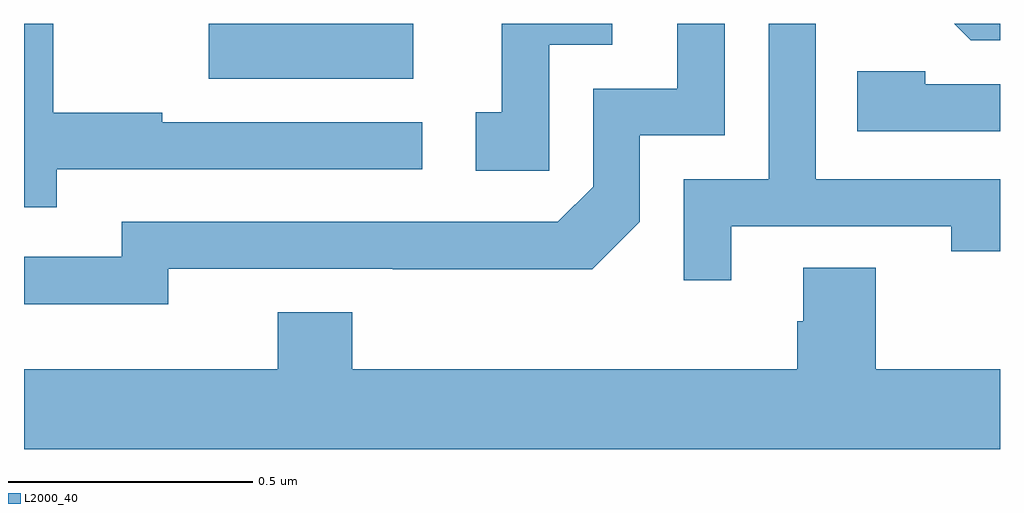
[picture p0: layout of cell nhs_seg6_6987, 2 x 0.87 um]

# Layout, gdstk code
import gdstk
lib = gdstk.Library(unit=1e-6, precision=1e-09)
def R(c, l, rs):  # rectangles x0, y0, x1, y1
    for r in rs: c.add(gdstk.rectangle(r[:2], r[2:], *l))
def P(c, l, *ps):  # polygons
    for p in ps: c.add(gdstk.Polygon(p, *l))
L2000_40 = (2000, 40)

nhs_seg6_6987 = lib.new_cell('nhs_seg6_6987')
R(nhs_seg6_6987, L2000_40, [(202.379,989.387,202.798,989.5)])
P(nhs_seg6_6987, L2000_40, [(202.296,988.998),(202.756,988.998),(202.756,988.997),(203.164,988.997),(203.262,989.094),(203.262,989.271),(203.436,989.271),(203.436,989.5),(203.339,989.5),(203.339,989.367),(203.166,989.367),(203.166,989.166),(203.094,989.094),(202.2,989.094),(202.2,989.022),(202,989.022),(202,988.925),(202.296,988.925)],
  [(202.067,989.202),(202.816,989.202),(202.816,989.298),(202.283,989.298),(202.283,989.318),(202.06,989.318),(202.06,989.5),(202,989.5),(202,989.124),(202.067,989.124)],
  [(203.076,989.457),(203.205,989.457),(203.205,989.5),(202.979,989.5),(202.979,989.319),(202.926,989.319),(202.926,989.199),(203.076,989.199)],
  [(203.449,989.085),(203.9,989.085),(203.9,989.034),(204,989.034),(204,989.181),(203.622,989.181),(203.622,989.5),(203.526,989.5),(203.526,989.181),(203.352,989.181),(203.352,988.974),(203.449,988.974)],
  [(204,989.5),(203.906,989.5),(203.94,989.466),(204,989.466)],
  [(204,989.376),(203.847,989.376),(203.847,989.403),(203.707,989.403),(203.707,989.28),(204,989.28)],
  [(204,988.792),(203.745,988.792),(203.745,989),(203.597,989),(203.597,988.89),(203.585,988.89),(203.585,988.792),(202.673,988.792),(202.673,988.909),(202.52,988.909),(202.52,988.792),(202,988.792),(202,988.628),(204,988.628)])

lib.write_gds('nhs_seg6_6987.gds')
